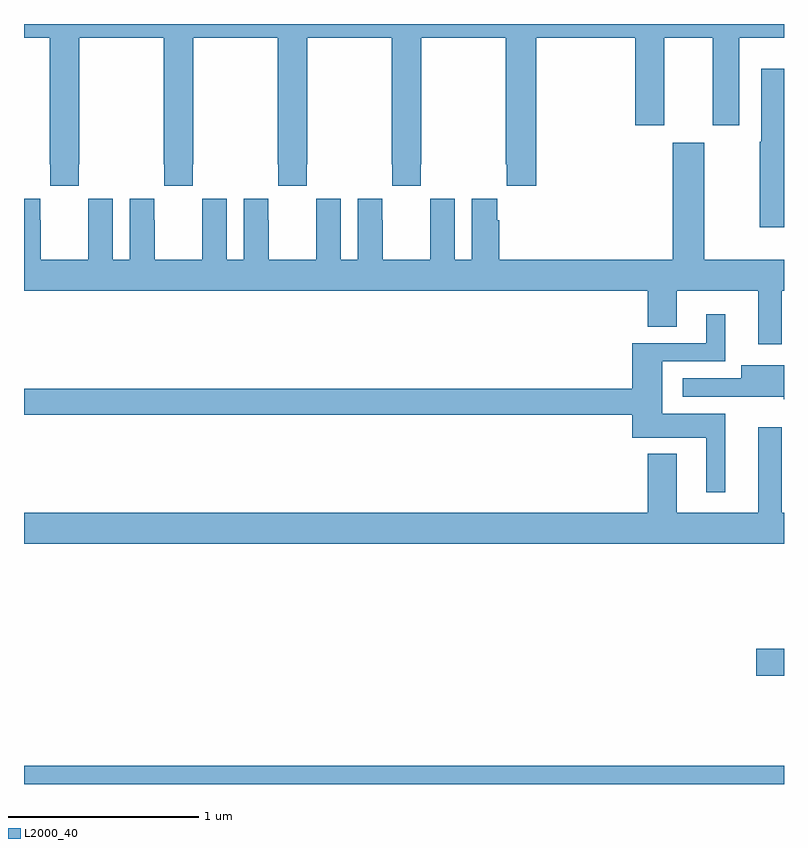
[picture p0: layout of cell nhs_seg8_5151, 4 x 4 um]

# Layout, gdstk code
import gdstk
lib = gdstk.Library(unit=1e-6, precision=1e-09)
def R(c, l, rs):  # rectangles x0, y0, x1, y1
    for r in rs: c.add(gdstk.rectangle(r[:2], r[2:], *l))
def P(c, l, *ps):  # polygons
    for p in ps: c.add(gdstk.Polygon(p, *l))
L2000_40 = (2000, 40)

nhs_seg8_5151 = lib.new_cell('nhs_seg8_5151')
R(nhs_seg8_5151, L2000_40, [(421,1117.9,425,1117.996), (424.854,1118.47,425,1118.612)])
P(nhs_seg8_5151, L2000_40, [(421,1121.828),(421.135,1121.828),(421.135,1121.161),(421.137,1121.161),(421.137,1121.049),(421.287,1121.049),(421.287,1121.161),(421.29,1121.161),(421.29,1121.828),(421.735,1121.828),(421.735,1121.161),(421.737,1121.161),(421.737,1121.049),(421.887,1121.049),(421.887,1121.161),(421.89,1121.161),(421.89,1121.828),(422.335,1121.828),(422.335,1121.161),(422.337,1121.161),(422.337,1121.049),(422.487,1121.049),(422.487,1121.161),(422.49,1121.161),(422.49,1121.828),(422.935,1121.828),(422.935,1121.161),(422.937,1121.161),(422.937,1121.049),(423.087,1121.049),(423.087,1121.161),(423.09,1121.161),(423.09,1121.828),(423.535,1121.828),(423.535,1121.161),(423.541,1121.161),(423.541,1121.049),(423.695,1121.049),(423.695,1121.828),(424.217,1121.828),(424.217,1121.367),(424.369,1121.367),(424.369,1121.828),(424.625,1121.828),(424.625,1121.367),(424.765,1121.367),(424.765,1121.828),(425,1121.828),(425,1121.9),(421,1121.9)],
  [(425,1121.665),(424.88,1121.665),(424.88,1121.279),(424.873,1121.279),(424.873,1120.83),(425,1120.83)],
  [(424.283,1120.306),(424.435,1120.306),(424.435,1120.496),(424.865,1120.496),(424.865,1120.215),(424.987,1120.215),(424.987,1120.496),(425,1120.496),(425,1120.66),(424.579,1120.66),(424.579,1121.275),(424.415,1121.275),(424.415,1120.66),(423.5,1120.66),(423.5,1120.868),(423.49,1120.868),(423.49,1120.981),(423.356,1120.981),(423.356,1120.66),(423.268,1120.66),(423.268,1120.981),(423.138,1120.981),(423.138,1120.868),(423.137,1120.868),(423.137,1120.66),(422.887,1120.66),(422.887,1120.868),(422.886,1120.868),(422.886,1120.981),(422.756,1120.981),(422.756,1120.66),(422.668,1120.66),(422.668,1120.981),(422.538,1120.981),(422.538,1120.868),(422.537,1120.868),(422.537,1120.66),(422.287,1120.66),(422.287,1120.868),(422.286,1120.868),(422.286,1120.981),(422.156,1120.981),(422.156,1120.66),(422.068,1120.66),(422.068,1120.981),(421.938,1120.981),(421.938,1120.868),(421.937,1120.868),(421.937,1120.66),(421.687,1120.66),(421.687,1120.868),(421.686,1120.868),(421.686,1120.981),(421.556,1120.981),(421.556,1120.66),(421.468,1120.66),(421.468,1120.981),(421.338,1120.981),(421.338,1120.868),(421.337,1120.868),(421.337,1120.66),(421.087,1120.66),(421.087,1120.868),(421.086,1120.868),(421.086,1120.981),(421,1120.981),(421,1120.496),(424.283,1120.496)],
  [(424.69,1119.85),(424.36,1119.85),(424.36,1120.125),(424.69,1120.125),(424.69,1120.372),(424.592,1120.372),(424.592,1120.221),(424.202,1120.221),(424.202,1119.98),(421,1119.98),(421,1119.844),(424.202,1119.844),(424.202,1119.722),(424.592,1119.722),(424.592,1119.435),(424.69,1119.435)],
  [(425,1120.104),(424.775,1120.104),(424.775,1120.035),(424.467,1120.035),(424.467,1119.939),(424.779,1119.939),(424.779,1119.938),(424.998,1119.938),(424.998,1119.926),(425,1119.926)],
  [(425,1119.328),(424.987,1119.328),(424.987,1119.778),(424.865,1119.778),(424.865,1119.328),(424.435,1119.328),(424.435,1119.637),(424.283,1119.637),(424.283,1119.328),(421,1119.328),(421,1119.164),(425,1119.164)])

lib.write_gds('nhs_seg8_5151.gds')
